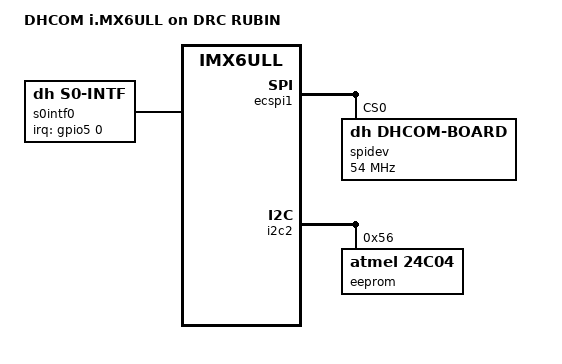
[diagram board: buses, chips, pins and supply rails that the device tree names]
// SPDX-License-Identifier: (GPL-2.0-or-later)
/*
 * Copyright (C) 2018 DH electronics GmbH
 */

/dts-v1/;

#include "imx6ull-dhcom.dtsi"
/* Special configurations */
//#include "imx6ull-dhcom-cfg-nand.dtsi"
#include "imx6ull-dhcom-cfg-sdcard.dtsi"
//#include "imx6ull-dhcom-cfg-bootflash.dtsi"

/ {
	model = "DHCOM i.MX6ULL on DRC RUBIN";
	compatible = "dh,imx6ull-dhcom-drc_rubin", "fsl,imx6ull";

	s0intf0 {// GPIO_A
		id = <0>; // used for minor char dev id
		compatible = "dh,s0-intf";
		interrupt-parent = <&gpio5>;
		interrupts = <0 IRQ_TYPE_EDGE_RISING>; // use GPIO_A for irq
		status = "okay";
	};
};

#ifndef CFG_BOOTFLASH
&ecspi1 { /* DHCOM SPI1 */
	spidev@0 {
		compatible = "dh,dhcom-board";
		reg = <0>;
		spi-max-frequency = <54000000>;
		spi-cpha; /* Shifted clock phase (CPHA) mode */
		spi-cpol; /* Inverse clock polarity (CPOL) mode */
	};
};
#endif

&i2c1 { /* DHCOM I2C2 */
};

&i2c2 { /* DHCOM I2C1 */
	eeprom@56 { /* Atmel AT24HC04B, addresses 0x56 and 0x57 */
		compatible = "atmel,24c04";
		reg = <0x56>;
		pagesize = <16>;
	};
};

&uart2 { /* Use UART as RS485 */
	linux,rs485-enabled-at-boot-time;
};

&iomuxc {
	pinctrl-names = "default";
	pinctrl-0 = <&pinctrl_hog_drc02>;

	pinctrl_hog_drc02: hog-drc02-grp {
		fsl,pins = <
			MX6UL_PAD_UART1_CTS_B__GPIO1_IO18	0x400120b0 /* GPIO I -> In_2 */
			MX6UL_PAD_CSI_HSYNC__GPIO4_IO20		0x400120b0 /* GPIO J -> VA2 */
			MX6UL_PAD_CSI_PIXCLK__GPIO4_IO18	0x400120b0 /* GPIO K -> VA1 */
			MX6UL_PAD_CSI_MCLK__GPIO4_IO17		0x400120b0 /* GPIO L -> VA0 */
			MX6UL_PAD_CSI_VSYNC__GPIO4_IO19		0x400120b0 /* GPIO M -> RS485_TX_En */
#ifndef CFG_BOOTFLASH
			MX6UL_PAD_CSI_DATA07__GPIO4_IO28	0x400120b0 /* GPIO N -> RS485_RX_En */
			MX6UL_PAD_CSI_DATA06__GPIO4_IO27	0x400120b0 /* GPIO O -> GPIO_O_PSOC_CLK */
			MX6UL_PAD_CSI_DATA05__GPIO4_IO26	0x400120b0 /* GPIO P -> GPIO_P_PSOC_IO */
			MX6UL_PAD_CSI_DATA04__GPIO4_IO25	0x400120b0 /* GPIO Q -> HW2 */
			MX6UL_PAD_CSI_DATA03__GPIO4_IO24	0x400120b0 /* GPIO R -> HW1 */
			MX6UL_PAD_CSI_DATA02__GPIO4_IO23	0x400120b0 /* GPIO S -> HW0 */
			MX6UL_PAD_CSI_DATA01__GPIO4_IO22	0x400120b0 /* GPIO T -> Not connected */
			MX6UL_PAD_CSI_DATA00__GPIO4_IO21	0x400120b0 /* GPIO U -> Not connected */
#endif
			/* There isn't a pin defined                          GPIO V -> Not connected */
			/* There isn't a pin defined                          GPIO W -> Not connected */
			MX6UL_PAD_JTAG_TMS__GPIO1_IO11		0x400120b0 /* INT_HIGHEST_PRIORITY -> VIO */
		>;
	};
};

&iomuxc_snvs {
	pinctrl-names = "default";
	pinctrl-0 = <&pinctrl_snvs_hog_drc02>;

	pinctrl_snvs_hog_drc02: snvs-hog-drc02-grp {
		fsl,pins = <
			MX6ULL_PAD_SNVS_TAMPER0__GPIO5_IO00	0x400120b0 /* GPIO A -> S0 */
			MX6ULL_PAD_SNVS_TAMPER1__GPIO5_IO01	0x400120b0 /* GPIO B -> PSOC_INT */
			MX6ULL_PAD_SNVS_TAMPER2__GPIO5_IO02	0x400120b0 /* GPIO C -> USB_OCSTAT_2 */
			MX6ULL_PAD_SNVS_TAMPER3__GPIO5_IO03	0x400120b0 /* GPIO D -> GPIO_D_LD_BL1 */
			MX6ULL_PAD_SNVS_TAMPER4__GPIO5_IO04	0x400120b0 /* GPIO E -> USB_PWR_EN_2 */
			MX6ULL_PAD_SNVS_TAMPER7__GPIO5_IO07	0x400120b0 /* GPIO F -> GPIO_F_LD_BL2 */
			MX6ULL_PAD_SNVS_TAMPER8__GPIO5_IO08	0x400120b0 /* GPIO G -> GPIO_G */
			MX6ULL_PAD_SNVS_TAMPER9__GPIO5_IO09	0x400120b0 /* GPIO H -> In_1 */
		>;
	};
};
